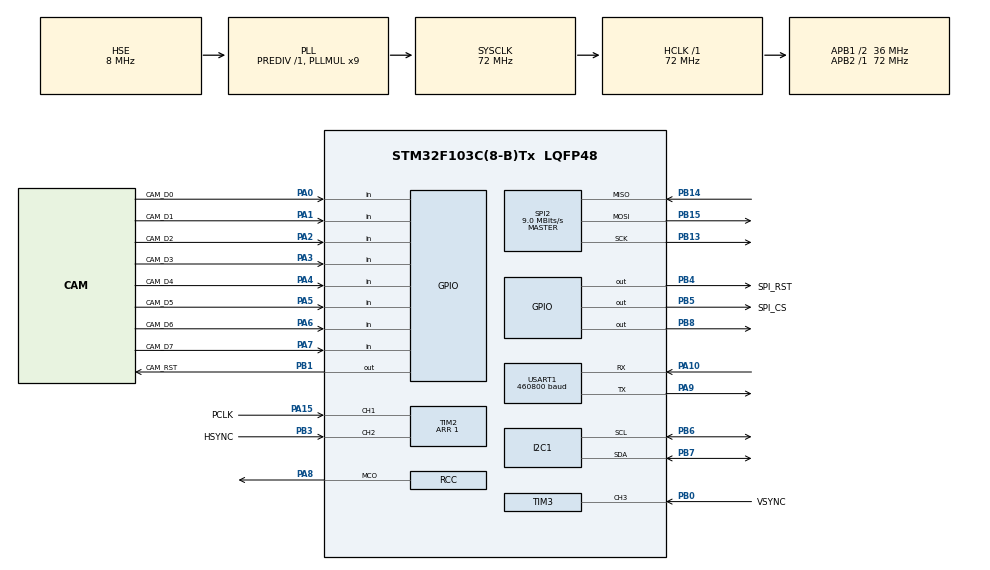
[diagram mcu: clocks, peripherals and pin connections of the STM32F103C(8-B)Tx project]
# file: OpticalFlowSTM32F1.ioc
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Dma.Request0=TIM2_CH1
Dma.TIM2_CH1.0.Direction=DMA_PERIPH_TO_MEMORY
Dma.TIM2_CH1.0.Instance=DMA1_Channel5
Dma.TIM2_CH1.0.MemDataAlignment=DMA_MDATAALIGN_BYTE
Dma.TIM2_CH1.0.MemInc=DMA_MINC_ENABLE
Dma.TIM2_CH1.0.Mode=DMA_NORMAL
Dma.TIM2_CH1.0.PeriphDataAlignment=DMA_PDATAALIGN_BYTE
Dma.TIM2_CH1.0.PeriphInc=DMA_PINC_DISABLE
Dma.TIM2_CH1.0.Priority=DMA_PRIORITY_VERY_HIGH
I2C1.I2C_Mode=I2C_Fast
Mcu.Family=STM32F1
Mcu.Name=STM32F103C(8-B)Tx
Mcu.Package=LQFP48
NVIC.DMA1_Channel5_IRQn=true\:0\:0\:false\:false\:true\:false\:true
NVIC.PriorityGroup=NVIC_PRIORITYGROUP_4
NVIC.TIM2_IRQn=true\:0\:0\:false\:false\:true\:true\:true
NVIC.TIM3_IRQn=true\:0\:0\:false\:false\:true\:true\:true
PA0-WKUP.GPIO_Label=CAM_D0
PA0-WKUP.Signal=GPIO_Input
PA1.GPIO_Label=CAM_D1
PA1.Signal=GPIO_Input
PA10.Mode=Asynchronous
PA10.Signal=USART1_RX
PA15.GPIO_Label=PCLK
PA15.Signal=S_TIM2_CH1_ETR
PA2.GPIO_Label=CAM_D2
PA2.Signal=GPIO_Input
PA3.GPIO_Label=CAM_D3
PA3.Signal=GPIO_Input
PA4.GPIO_Label=CAM_D4
PA4.Signal=GPIO_Input
PA5.GPIO_Label=CAM_D5
PA5.Signal=GPIO_Input
PA6.GPIO_Label=CAM_D6
PA6.Signal=GPIO_Input
PA7.GPIO_Label=CAM_D7
PA7.Signal=GPIO_Input
PA8.Mode=Clock-out
PA8.Signal=RCC_MCO
PA9.Mode=Asynchronous
PA9.Signal=USART1_TX
PB0.GPIO_Label=VSYNC
PB0.Signal=S_TIM3_CH3
PB1.GPIO_Label=CAM_RST
PB1.Signal=GPIO_Output
PB13.Mode=Full_Duplex_Master
PB13.Signal=SPI2_SCK
PB14.Mode=Full_Duplex_Master
PB14.Signal=SPI2_MISO
PB15.Mode=Full_Duplex_Master
PB15.Signal=SPI2_MOSI
PB3.GPIO_Label=HSYNC
PB3.Signal=S_TIM2_CH2
PB4.GPIO_Label=SPI_RST
PB4.Signal=GPIO_Output
PB5.GPIO_Label=SPI_CS
PB5.Signal=GPIO_Output
PB6.Mode=I2C
PB6.Signal=I2C1_SCL
PB7.Mode=I2C
PB7.Signal=I2C1_SDA
PB8.Signal=GPIO_Output
PD0-OSC_IN.Mode=HSE-External-Oscillator
PD0-OSC_IN.Signal=RCC_OSC_IN
PD1-OSC_OUT.Mode=HSE-External-Oscillator
PD1-OSC_OUT.Signal=RCC_OSC_OUT
ProjectManager.HeapSize=0x200
ProjectManager.StackSize=0x400
ProjectManager.TargetToolchain=STM32CubeIDE
RCC.AHBFreq_Value=72000000
RCC.APB1CLKDivider=RCC_HCLK_DIV2
RCC.APB1Freq_Value=36000000
RCC.APB1TimFreq_Value=72000000
RCC.APB2Freq_Value=72000000
RCC.APB2TimFreq_Value=72000000
RCC.HCLKFreq_Value=72000000
RCC.PLLMUL=RCC_PLL_MUL9
RCC.PLLSourceVirtual=RCC_PLLSOURCE_HSE
RCC.RCC_MCOSource=RCC_MCO1SOURCE_PLLCLK
RCC.SYSCLKFreq_VALUE=72000000
RCC.SYSCLKSource=RCC_SYSCLKSOURCE_PLLCLK
RCC.USBFreq_Value=72000000
SH.S_TIM2_CH1_ETR.0=TIM2_CH1,Input_Capture1_from_TI1
SH.S_TIM2_CH2.0=TIM2_CH2,Input_Capture2_from_TI2
SH.S_TIM3_CH3.0=TIM3_CH3,Input_Capture3_from_TI3
SPI2.BaudRatePrescaler=SPI_BAUDRATEPRESCALER_4
SPI2.CalculateBaudRate=9.0 MBits/s
SPI2.Direction=SPI_DIRECTION_2LINES
SPI2.Mode=SPI_MODE_MASTER
SPI2.VirtualType=VM_MASTER
TIM2.Channel-Input_Capture1_from_TI1=TIM_CHANNEL_1
TIM2.Channel-Input_Capture2_from_TI2=TIM_CHANNEL_2
TIM2.ICPolarity_CH1=TIM_INPUTCHANNELPOLARITY_RISING
TIM2.ICPolarity_CH2=TIM_INPUTCHANNELPOLARITY_FALLING
TIM2.ICPrescaler-Input_Capture1_from_TI1=TIM_ICPSC_DIV2
TIM2.ICPrescaler-Input_Capture2_from_TI2=TIM_ICPSC_DIV1
TIM2.Period=1
TIM3.Channel-Input_Capture3_from_TI3=TIM_CHANNEL_3
TIM3.ICPolarity_CH3=TIM_INPUTCHANNELPOLARITY_FALLING
TIM3.Period=65535
USART1.BaudRate=460800
USART1.Parity=PARITY_NONE
USART1.VirtualMode=VM_ASYNC
USART1.WordLength=WORDLENGTH_8B
VP_SYS_VS_ND.Mode=No_Debug
VP_TIM2_VS_ClockSourceINT.Mode=Internal
VP_TIM3_VS_ClockSourceINT.Mode=Internal
board=custom

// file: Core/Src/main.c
/* USER CODE BEGIN Header */
/**
  ******************************************************************************
  * @file           : main.c
  * @brief          : Main program body
  ******************************************************************************
  * @attention
  *
  * <h2><center>&copy; Copyright (c) 2021 STMicroelectronics.
  * All rights reserved.</center></h2>
  *
  * This software component is licensed by ST under BSD 3-Clause license,
  * the "License"; You may not use this file except in compliance with the
  * License. You may obtain a copy of the License at:
  *                        opensource.org/licenses/BSD-3-Clause
  *
  ******************************************************************************
  */
/* USER CODE END Header */
#include "main.h"

/* USER CODE BEGIN Includes */

#include "ST7735.h"
#include "fonts.h"
#include "GFX_FUNCTIONS.h"
#include "ov7670.h"
#include "string.h"
#include "stdio.h"

/* USER CODE END Includes */

I2C_HandleTypeDef hi2c1;

SPI_HandleTypeDef hspi2;

TIM_HandleTypeDef htim2;
TIM_HandleTypeDef htim3;
DMA_HandleTypeDef hdma_tim2_ch1;

UART_HandleTypeDef huart1;

/* USER CODE BEGIN PV */

uint8_t print_text_buffer[32];

/* USER CODE END PV */

void SystemClock_Config(void);
static void MX_GPIO_Init(void);
static void MX_DMA_Init(void);
static void MX_TIM2_Init(void);
static void MX_I2C1_Init(void);
static void MX_SPI2_Init(void);
static void MX_TIM3_Init(void);
static void MX_USART1_UART_Init(void);

int main(void)
{

  /* MCU Configuration--------------------------------------------------------*/

  /* Reset of all peripherals, Initializes the Flash interface and the Systick. */
  HAL_Init();

  /* Configure the system clock */
  SystemClock_Config();

  /* Initialize all configured peripherals */
  MX_GPIO_Init();
  MX_DMA_Init();
  MX_TIM2_Init();
  MX_I2C1_Init();
  MX_SPI2_Init();
  MX_TIM3_Init();
  MX_USART1_UART_Init();
  /* USER CODE BEGIN 2 */

  HAL_GPIO_WritePin(CAM_RST_GPIO_Port, CAM_RST_Pin, GPIO_PIN_RESET);

  ST7735_Init(0);
  fillScreen(BLACK);
  //testAll();
  HAL_Delay(200);

  HAL_GPIO_WritePin(CAM_RST_GPIO_Port, CAM_RST_Pin, GPIO_PIN_SET);
  HAL_Delay(50);
  Camera_Init();
  HAL_Delay(500);

  /* USER CODE END 2 */

  /* Infinite loop */
  /* USER CODE BEGIN WHILE */
  while (1)
  {
	  //HAL_Delay(20);
	  //sprintf((char *)print_text_buffer, "%ud%s", line_count, "\n");
	  //HAL_UART_Transmit(&huart1, print_text_buffer, strlen((char*)print_text_buffer), HAL_MAX_DELAY);
	  //HAL_TIM_IRQHandler(htim);

	  //line_count = 0;

	  //HAL_TIM_IC_Start_IT(&htim3, TIM_CHANNEL_3);
	  TIM3->DIER = TIM_DIER_CC3IE;
	  TIM3->CR1 = TIM_CR1_CEN;

	  while(!frame_captured);

	  //sprintf((char *)print_text_buffer, "%lu%s", line_count, "\n");
	  //HAL_UART_Transmit(&huart1, print_text_buffer, strlen((char*)print_text_buffer), HAL_MAX_DELAY);

	  //HAL_TIM_IC_Stop_IT(&htim2, TIM_CHANNEL_2);
	  //HAL_TIM_IC_Stop_IT(&htim3, TIM_CHANNEL_3);

	  //TIM2->DIER &= ~TIM_DIER_CC1DE;

	  //TIM3->CR1 &= ~TIM_CR1_CEN;
	  //TIM2->CR1 &= ~TIM_CR1_CEN;

	  ST7735_Select();

	  ST7735_SetAddressWindow(0, 0, 127, 90);

	  for(int j = 0; j < 80; j++)
	  {
		  for(int i = 0; i < 128; i++)
		  {
			  uint16_t color_to_send = (uint16_t)((RED & (uint16_t)((uint16_t)temp_data_line[i + (j * 128)] << 8))/* | (GREEN & (uint16_t)((uint16_t)temp_data_line[i + (j * 256)] << 5)) | (BLUE & (uint16_t)temp_data_line[i + (j * 256)])*/);
			  //uint16_t color_to_send = ((((uint16_t)temp_data_line[i+1 + (j * 256)]) << 8) & 0xFF00) | (((uint16_t)temp_data_line[i + (j * 256)]) & 0x00FF);
			  //uint16_t color_to_send2 = ((color_to_send & RED) >> 11) | ((color_to_send & BLUE) << 11);// | (color_to_send & GREEN);
			  uint16_t color_to_send2 = color_to_send;//temp_data_line[i + (j * 256)] & BLUE;
			  //color_to_send = RED;
			  uint8_t data[] = { color_to_send2 >> 8, color_to_send2 & 0xFF };
			  //uint8_t data[] = { temp_data_line[i + (j * 256)], temp_data_line[i+1 + (j * 256)] };
			  ST7735_WriteData(data, sizeof(data));

			  //ST7735_DrawPixel(i, (uint16_t)j, color_to_send);

			  //drawLine(i, 0, i, 20, color_to_send);
			  //HAL_Delay(5);
		  }
	  }

	  //ST7735_WriteData(temp_data_line, 30*256);

	  ST7735_Unselect();

	  //HAL_UART_Transmit(&huart1, temp_data_line, 10240, HAL_MAX_DELAY);

	  //hsync_flag = 0;

	  frame_captured = 0;

	  //TIM2->DIER |= TIM_DIER_CC1DE;
	  //TIM2->DIER |= TIM_DIER_CC2IE;

	  //TIM3->CR1 = TIM_CR1_CEN;

	  //HAL_Delay(500);

	  //sprintf((char *)print_text_buffer, "%hd%s", temp_data_line[50], "\n");
	  //HAL_UART_Transmit(&huart1, print_text_buffer, strlen((char*)print_text_buffer), HAL_MAX_DELAY);

	  //drawLine(0, line_count, 128, 1, BLACK);
	  //very slow test
	  /*if(line_count < 128)
		  {
			  for(int i = 0; i < 128; i++)
			  {
				  uint16_t color_to_send = (uint16_t)((RED & (uint16_t)(temp_data_line[i] << 10)) | (GREEN & (uint16_t)(temp_data_line[i] << 5)) | (BLUE & (uint16_t)temp_data_line[i]));
				  ST7735_DrawPixel(i, line_count, color_to_send);
				  //drawLine(i, 0, i, 20, color_to_send);
				  //HAL_Delay(5);
			  }
		  }*/
	  /*ST7735_SetRotation(0);
	  ST7735_WriteString(0, 0, "HELLO", Font_11x18, RED,BLACK);
	  HAL_Delay(1000);
	  fillScreen(BLACK);

	  ST7735_SetRotation(1);
	  ST7735_WriteString(0, 0, "WORLD", Font_11x18, GREEN,BLACK);
	  HAL_Delay(1000);
	  fillScreen(BLACK);

	  ST7735_SetRotation(2);
	  ST7735_WriteString(0, 0, "FROM", Font_11x18, BLUE,BLACK);
	  HAL_Delay(1000);
	  fillScreen(BLACK);

	  ST7735_SetRotation(3);
	  ST7735_WriteString(0, 0, "ControllersTech", Font_16x26, YELLOW,BLACK);
	  HAL_Delay(1000);
	  fillScreen(BLACK);*/

    /* USER CODE END WHILE */

  }
}

void SystemClock_Config(void)
{
  RCC_OscInitTypeDef RCC_OscInitStruct = {0};
  RCC_ClkInitTypeDef RCC_ClkInitStruct = {0};

  /** Initializes the RCC Oscillators according to the specified parameters
  * in the RCC_OscInitTypeDef structure.
  */
  RCC_OscInitStruct.OscillatorType = RCC_OSCILLATORTYPE_HSE;
  RCC_OscInitStruct.HSEState = RCC_HSE_ON;
  RCC_OscInitStruct.HSEPredivValue = RCC_HSE_PREDIV_DIV1;
  RCC_OscInitStruct.HSIState = RCC_HSI_ON;
  RCC_OscInitStruct.PLL.PLLState = RCC_PLL_ON;
  RCC_OscInitStruct.PLL.PLLSource = RCC_PLLSOURCE_HSE;
  RCC_OscInitStruct.PLL.PLLMUL = RCC_PLL_MUL9;
  if (HAL_RCC_OscConfig(&RCC_OscInitStruct) != HAL_OK)
  {
    Error_Handler();
  }
  /** Initializes the CPU, AHB and APB buses clocks
  */
  RCC_ClkInitStruct.ClockType = RCC_CLOCKTYPE_HCLK|RCC_CLOCKTYPE_SYSCLK
                              |RCC_CLOCKTYPE_PCLK1|RCC_CLOCKTYPE_PCLK2;
  RCC_ClkInitStruct.SYSCLKSource = RCC_SYSCLKSOURCE_PLLCLK;
  RCC_ClkInitStruct.AHBCLKDivider = RCC_SYSCLK_DIV1;
  RCC_ClkInitStruct.APB1CLKDivider = RCC_HCLK_DIV2;
  RCC_ClkInitStruct.APB2CLKDivider = RCC_HCLK_DIV1;

  if (HAL_RCC_ClockConfig(&RCC_ClkInitStruct, FLASH_LATENCY_2) != HAL_OK)
  {
    Error_Handler();
  }
  HAL_RCC_MCOConfig(RCC_MCO, RCC_MCO1SOURCE_PLLCLK, RCC_MCODIV_1);
}

static void MX_I2C1_Init(void)
{

  hi2c1.Instance = I2C1;
  hi2c1.Init.ClockSpeed = 400000;
  hi2c1.Init.DutyCycle = I2C_DUTYCYCLE_2;
  hi2c1.Init.OwnAddress1 = 0;
  hi2c1.Init.AddressingMode = I2C_ADDRESSINGMODE_7BIT;
  hi2c1.Init.DualAddressMode = I2C_DUALADDRESS_DISABLE;
  hi2c1.Init.OwnAddress2 = 0;
  hi2c1.Init.GeneralCallMode = I2C_GENERALCALL_DISABLE;
  hi2c1.Init.NoStretchMode = I2C_NOSTRETCH_DISABLE;
  if (HAL_I2C_Init(&hi2c1) != HAL_OK)
  {
    Error_Handler();
  }

}

static void MX_SPI2_Init(void)
{

  /* SPI2 parameter configuration*/
  hspi2.Instance = SPI2;
  hspi2.Init.Mode = SPI_MODE_MASTER;
  hspi2.Init.Direction = SPI_DIRECTION_2LINES;
  hspi2.Init.DataSize = SPI_DATASIZE_8BIT;
  hspi2.Init.CLKPolarity = SPI_POLARITY_LOW;
  hspi2.Init.CLKPhase = SPI_PHASE_1EDGE;
  hspi2.Init.NSS = SPI_NSS_SOFT;
  hspi2.Init.BaudRatePrescaler = SPI_BAUDRATEPRESCALER_4;
  hspi2.Init.FirstBit = SPI_FIRSTBIT_MSB;
  hspi2.Init.TIMode = SPI_TIMODE_DISABLE;
  hspi2.Init.CRCCalculation = SPI_CRCCALCULATION_DISABLE;
  hspi2.Init.CRCPolynomial = 10;
  if (HAL_SPI_Init(&hspi2) != HAL_OK)
  {
    Error_Handler();
  }

}

static void MX_TIM2_Init(void)
{

  TIM_ClockConfigTypeDef sClockSourceConfig = {0};
  TIM_MasterConfigTypeDef sMasterConfig = {0};
  TIM_IC_InitTypeDef sConfigIC = {0};

  htim2.Instance = TIM2;
  htim2.Init.Prescaler = 0;
  htim2.Init.CounterMode = TIM_COUNTERMODE_UP;
  htim2.Init.Period = 1;
  htim2.Init.ClockDivision = TIM_CLOCKDIVISION_DIV1;
  htim2.Init.AutoReloadPreload = TIM_AUTORELOAD_PRELOAD_DISABLE;
  if (HAL_TIM_Base_Init(&htim2) != HAL_OK)
  {
    Error_Handler();
  }
  sClockSourceConfig.ClockSource = TIM_CLOCKSOURCE_INTERNAL;
  if (HAL_TIM_ConfigClockSource(&htim2, &sClockSourceConfig) != HAL_OK)
  {
    Error_Handler();
  }
  if (HAL_TIM_IC_Init(&htim2) != HAL_OK)
  {
    Error_Handler();
  }
  sMasterConfig.MasterOutputTrigger = TIM_TRGO_RESET;
  sMasterConfig.MasterSlaveMode = TIM_MASTERSLAVEMODE_DISABLE;
  if (HAL_TIMEx_MasterConfigSynchronization(&htim2, &sMasterConfig) != HAL_OK)
  {
    Error_Handler();
  }
  sConfigIC.ICPolarity = TIM_INPUTCHANNELPOLARITY_RISING;
  sConfigIC.ICSelection = TIM_ICSELECTION_DIRECTTI;
  sConfigIC.ICPrescaler = TIM_ICPSC_DIV2;
  sConfigIC.ICFilter = 0;
  if (HAL_TIM_IC_ConfigChannel(&htim2, &sConfigIC, TIM_CHANNEL_1) != HAL_OK)
  {
    Error_Handler();
  }
  sConfigIC.ICPolarity = TIM_INPUTCHANNELPOLARITY_FALLING;
  sConfigIC.ICPrescaler = TIM_ICPSC_DIV1;
  if (HAL_TIM_IC_ConfigChannel(&htim2, &sConfigIC, TIM_CHANNEL_2) != HAL_OK)
  {
    Error_Handler();
  }

}

static void MX_TIM3_Init(void)
{

  TIM_ClockConfigTypeDef sClockSourceConfig = {0};
  TIM_MasterConfigTypeDef sMasterConfig = {0};
  TIM_IC_InitTypeDef sConfigIC = {0};

  htim3.Instance = TIM3;
  htim3.Init.Prescaler = 0;
  htim3.Init.CounterMode = TIM_COUNTERMODE_UP;
  htim3.Init.Period = 65535;
  htim3.Init.ClockDivision = TIM_CLOCKDIVISION_DIV1;
  htim3.Init.AutoReloadPreload = TIM_AUTORELOAD_PRELOAD_DISABLE;
  if (HAL_TIM_Base_Init(&htim3) != HAL_OK)
  {
    Error_Handler();
  }
  sClockSourceConfig.ClockSource = TIM_CLOCKSOURCE_INTERNAL;
  if (HAL_TIM_ConfigClockSource(&htim3, &sClockSourceConfig) != HAL_OK)
  {
    Error_Handler();
  }
  if (HAL_TIM_IC_Init(&htim3) != HAL_OK)
  {
    Error_Handler();
  }
  sMasterConfig.MasterOutputTrigger = TIM_TRGO_RESET;
  sMasterConfig.MasterSlaveMode = TIM_MASTERSLAVEMODE_DISABLE;
  if (HAL_TIMEx_MasterConfigSynchronization(&htim3, &sMasterConfig) != HAL_OK)
  {
    Error_Handler();
  }
  sConfigIC.ICPolarity = TIM_INPUTCHANNELPOLARITY_FALLING;
  sConfigIC.ICSelection = TIM_ICSELECTION_DIRECTTI;
  sConfigIC.ICPrescaler = TIM_ICPSC_DIV1;
  sConfigIC.ICFilter = 0;
  if (HAL_TIM_IC_ConfigChannel(&htim3, &sConfigIC, TIM_CHANNEL_3) != HAL_OK)
  {
    Error_Handler();
  }

}

static void MX_USART1_UART_Init(void)
{

  huart1.Instance = USART1;
  huart1.Init.BaudRate = 460800;
  huart1.Init.WordLength = UART_WORDLENGTH_8B;
  huart1.Init.StopBits = UART_STOPBITS_1;
  huart1.Init.Parity = UART_PARITY_NONE;
  huart1.Init.Mode = UART_MODE_TX_RX;
  huart1.Init.HwFlowCtl = UART_HWCONTROL_NONE;
  huart1.Init.OverSampling = UART_OVERSAMPLING_16;
  if (HAL_UART_Init(&huart1) != HAL_OK)
  {
    Error_Handler();
  }

}

static void MX_DMA_Init(void)
{

  /* DMA controller clock enable */
  __HAL_RCC_DMA1_CLK_ENABLE();

  /* DMA interrupt init */
  /* DMA1_Channel5_IRQn interrupt configuration */
  HAL_NVIC_SetPriority(DMA1_Channel5_IRQn, 0, 0);
  HAL_NVIC_EnableIRQ(DMA1_Channel5_IRQn);

}

static void MX_GPIO_Init(void)
{
  GPIO_InitTypeDef GPIO_InitStruct = {0};

  /* GPIO Ports Clock Enable */
  __HAL_RCC_GPIOD_CLK_ENABLE();
  __HAL_RCC_GPIOA_CLK_ENABLE();
  __HAL_RCC_GPIOB_CLK_ENABLE();

  /*Configure GPIO pin Output Level */
  HAL_GPIO_WritePin(GPIOB, CAM_RST_Pin|SPI_RST_Pin|SPI_CS_Pin|GPIO_PIN_8, GPIO_PIN_RESET);

  /*Configure GPIO pins : CAM_D0_Pin CAM_D1_Pin CAM_D2_Pin CAM_D3_Pin
                           CAM_D4_Pin CAM_D5_Pin CAM_D6_Pin CAM_D7_Pin */
  GPIO_InitStruct.Pin = CAM_D0_Pin|CAM_D1_Pin|CAM_D2_Pin|CAM_D3_Pin
                          |CAM_D4_Pin|CAM_D5_Pin|CAM_D6_Pin|CAM_D7_Pin;
  GPIO_InitStruct.Mode = GPIO_MODE_INPUT;
  GPIO_InitStruct.Pull = GPIO_NOPULL;
  HAL_GPIO_Init(GPIOA, &GPIO_InitStruct);

  /*Configure GPIO pins : CAM_RST_Pin SPI_RST_Pin SPI_CS_Pin PB8 */
  GPIO_InitStruct.Pin = CAM_RST_Pin|SPI_RST_Pin|SPI_CS_Pin|GPIO_PIN_8;
  GPIO_InitStruct.Mode = GPIO_MODE_OUTPUT_PP;
  GPIO_InitStruct.Pull = GPIO_NOPULL;
  GPIO_InitStruct.Speed = GPIO_SPEED_FREQ_LOW;
  HAL_GPIO_Init(GPIOB, &GPIO_InitStruct);

  /*Configure GPIO pin : PA8 */
  GPIO_InitStruct.Pin = GPIO_PIN_8;
  GPIO_InitStruct.Mode = GPIO_MODE_AF_PP;
  GPIO_InitStruct.Speed = GPIO_SPEED_FREQ_LOW;
  HAL_GPIO_Init(GPIOA, &GPIO_InitStruct);

}

void Error_Handler(void)
{
}

/************************ (C) COPYRIGHT STMicroelectronics *****END OF FILE****/
